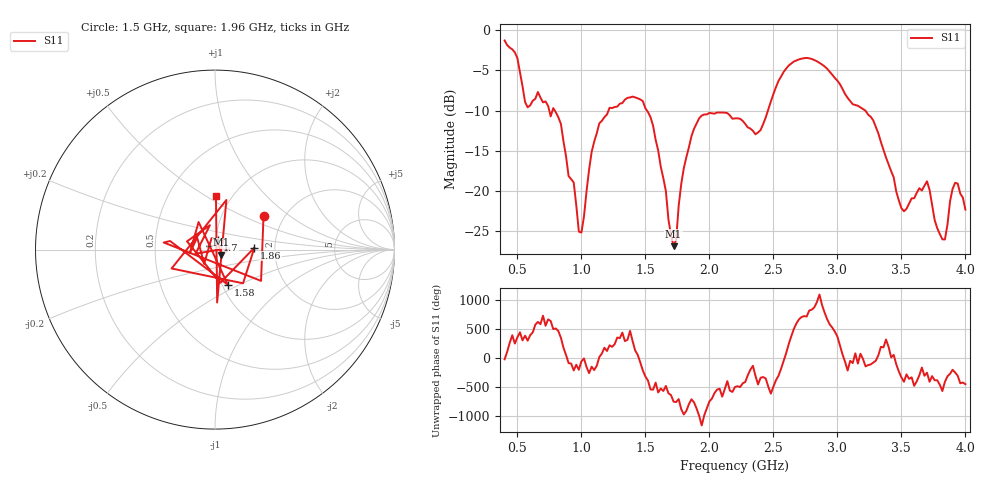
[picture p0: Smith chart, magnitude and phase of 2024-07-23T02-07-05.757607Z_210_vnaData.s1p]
!Created with skrf (http://scikit-rf.org).
# Hz S RI R 50.0
!freq ReS11 ImS11
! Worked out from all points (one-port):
!   181 points, 400 MHz to 4 GHz, reference 50 ohm
!   lowest |S11| = -26.8 dB at 1.72 GHz (marker M1), VSWR 1.10, Z = 53.7 - j2.98 ohm
!   |S11| at or under -10 dB: 792.6 MHz to 1.211 GHz (418.6 MHz wide, 41.8 % of centre); 1.513 GHz to 2.457 GHz (944 MHz wide, 47.6 % of centre); 3.22 GHz to end of sweep (the widest 3 of 4)
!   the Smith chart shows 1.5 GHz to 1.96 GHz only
!   S11 on the Smith chart (normalised r, x): 1.5 GHz: 1.58, +0.65; 1.58 GHz: 1.06, -0.43; 1.7 GHz: 1.02, +0.11; 1.86 GHz: 1.56, +0.04; 1.96 GHz: 0.84, +0.55
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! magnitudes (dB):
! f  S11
! 400 MHz  -1.3
! 500 MHz  -3.5
! 580 MHz  -9.6
! 660 MHz  -7.7
! 860 MHz  -13.8
! 1 GHz  -25.2
! 1.08 GHz  -15.1
! 1.14 GHz  -11.6
! 1.3 GHz  -9.1
! 1.5 GHz  -9.7
! 1.58 GHz  -13.6
! 1.7 GHz  -25.5
! 1.72 GHz  -26.8
! 1.76 GHz  -21.8
! 1.86 GHz  -13.2
! 1.96 GHz  -10.5
! 2.2 GHz  -11.0
! 2.4 GHz  -12.4
! 2.66 GHz  -3.9
! 2.88 GHz  -4.3
! 3.1 GHz  -8.8
! 3.28 GHz  -11.2
! 3.5 GHz  -22.1
! 3.56 GHz  -21.6
! 3.7 GHz  -18.8
! 3.82 GHz  -26.0
! 3.92 GHz  -19.0
! 4 GHz  -22.3
